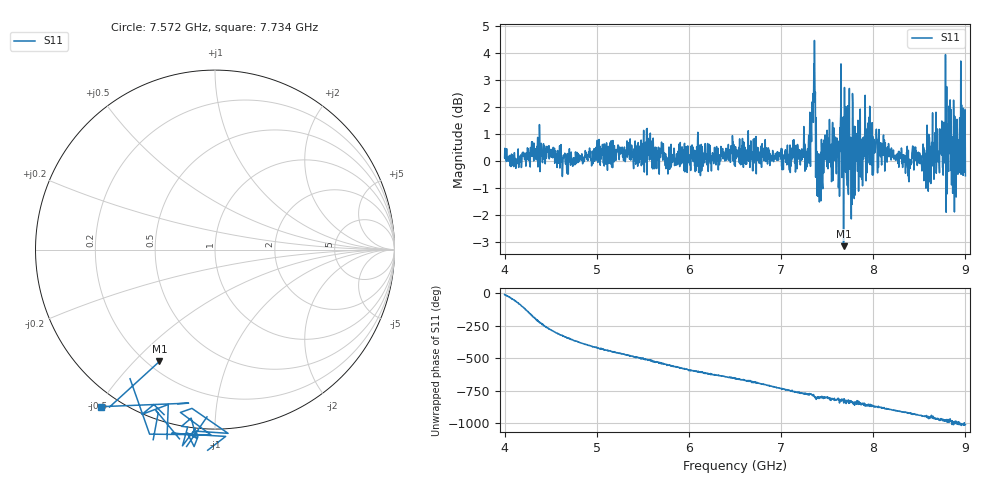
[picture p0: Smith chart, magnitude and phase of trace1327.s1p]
! Created with skrf 1.8.0 (http://scikit-rf.org).
# Hz S RI R 50.0
!freq ReS11 ImS11
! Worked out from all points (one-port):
!   1601 points, 4 GHz to 9 GHz, reference 50 ohm
!   lowest |S11| = -3.1 dB at 7.678 GHz (marker M1), VSWR 5.58, Z = 12.3 - j29.6 ohm
!   |S11| at or under -10 dB: nowhere
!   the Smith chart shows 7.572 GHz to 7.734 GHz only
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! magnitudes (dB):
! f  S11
! 4 GHz  0.1
! 4.375 GHz  -0.2
! 4.625 GHz  -0.6
! 5.25 GHz  0.4
! 5.875 GHz  -0.1
! 6.5 GHz  0.2
! 7.125 GHz  0.4
! 7.284 GHz  -0.2
! 7.316 GHz  0.6
! 7.347 GHz  2.5
! 7.369 GHz  2.2
! 7.4 GHz  -0.8
! 7.409 GHz  0.3
! 7.481 GHz  0.1
! 7.609 GHz  0.9
! 7.669 GHz  1.5
! 7.678 GHz  -3.1
! 7.75 GHz  0.0
! 7.784 GHz  -0.1
! 7.8 GHz  -1.3
! 7.962 GHz  2.0
! 8.375 GHz  -0.2
! 8.444 GHz  0.4
! 8.575 GHz  0.3
! 8.819 GHz  -0.4
! 8.875 GHz  1.3
! 8.959 GHz  2.1
! 9 GHz  -0.5
